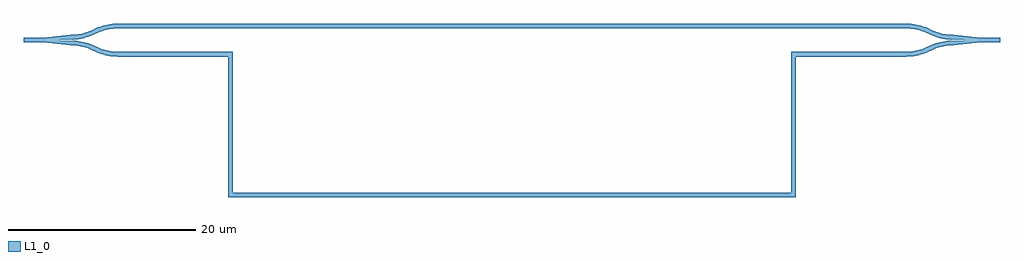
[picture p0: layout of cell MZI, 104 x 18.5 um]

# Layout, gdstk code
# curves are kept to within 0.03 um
from math import pi, radians
import gdstk
lib = gdstk.Library(unit=1e-6, precision=1e-09)
def R(c, l, rs):  # rectangles x0, y0, x1, y1
    for r in rs: c.add(gdstk.rectangle(r[:2], r[2:], *l))
def P(c, l, *ps):  # polygons
    for p in ps: c.add(gdstk.Polygon(p, *l))
L1_0 = (1, 0)

y_splitter = lib.new_cell('Y_Splitter')
R(y_splitter, L1_0, [(-2,-0.25,0,0.25)])
P(y_splitter, L1_0, [(3,-0.55),(3,-0.05),(1.8,-0.05),(1.8,0.05),(3,0.05),(3,0.55),(0,0.25),(0,-0.25)],
  [(3,0.05),(3.811,0.107),(4.606,0.279),(5.119,0.454),(6.297,0.967),(7.015,1.157),(7.752,1.244),(10,1.25),(10,1.75),(7.729,1.744),(6.656,1.591),(5.881,1.346),(4.935,0.919),(4.467,0.759),(3.741,0.602),(3,0.55)],
  [(3,-0.55),(3.741,-0.602),(4.467,-0.759),(6.135,-1.44),(6.921,-1.648),(7.729,-1.744),(10,-1.75),(10,-1.25),(7.752,-1.244),(7.015,-1.157),(6.065,-0.881),(4.865,-0.36),(4.079,-0.152),(3,-0.05)])

short_arm = lib.new_cell('short_arm')
R(short_arm, L1_0, [(0,-0.25,80,0.25)])

long_arm = lib.new_cell('long_arm')
P(long_arm, L1_0, [(0,-0.25),(9.75,-0.25),(9.75,-15.25),(70.25,-15.25),(70.25,-0.25),(80,-0.25),(80,0.25),(69.75,0.25),(69.75,-14.75),(10.25,-14.75),(10.25,0.25),(0,0.25)])

mzi = lib.new_cell('MZI')
mzi.add(gdstk.Reference(y_splitter, (0,0)))
mzi.add(gdstk.Reference(short_arm, (10,1.5)))
mzi.add(gdstk.Reference(long_arm, (10,-1.5)))
mzi.add(gdstk.Reference(y_splitter, (100,0), rotation=pi))

lib.write_gds('MZI.gds')
